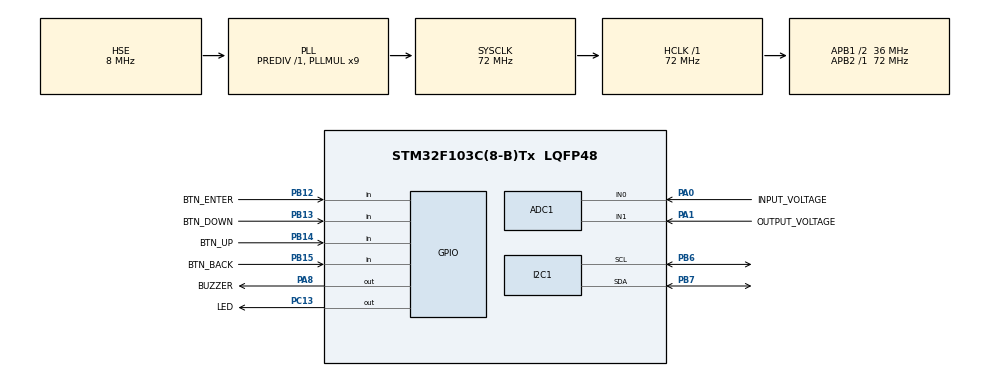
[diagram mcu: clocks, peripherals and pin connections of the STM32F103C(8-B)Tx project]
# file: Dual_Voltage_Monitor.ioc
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ADC1.Channel-0\#ChannelRegularConversion=ADC_CHANNEL_0
ADC1.NbrOfConversionFlag=1
ADC1.Rank-0\#ChannelRegularConversion=1
ADC1.SamplingTime-0\#ChannelRegularConversion=ADC_SAMPLETIME_239CYCLES_5
ADC1.master=1
Mcu.Family=STM32F1
Mcu.Name=STM32F103C(8-B)Tx
Mcu.Package=LQFP48
NVIC.PriorityGroup=NVIC_PRIORITYGROUP_4
PA0-WKUP.GPIO_Label=INPUT_VOLTAGE
PA0-WKUP.Signal=ADCx_IN0
PA1.GPIO_Label=OUTPUT_VOLTAGE
PA1.Signal=ADCx_IN1
PA13.Mode=Serial_Wire
PA13.Signal=SYS_JTMS-SWDIO
PA14.Mode=Serial_Wire
PA14.Signal=SYS_JTCK-SWCLK
PA8.GPIO_Label=BUZZER
PA8.Signal=GPIO_Output
PB12.GPIO_Label=BTN_ENTER
PB12.GPIO_PuPd=GPIO_PULLUP
PB12.Signal=GPIO_Input
PB13.GPIO_Label=BTN_DOWN
PB13.GPIO_PuPd=GPIO_PULLUP
PB13.Signal=GPIO_Input
PB14.GPIO_Label=BTN_UP
PB14.GPIO_PuPd=GPIO_PULLUP
PB14.Signal=GPIO_Input
PB15.GPIO_Label=BTN_BACK
PB15.GPIO_PuPd=GPIO_PULLUP
PB15.Signal=GPIO_Input
PB6.Mode=I2C
PB6.Signal=I2C1_SCL
PB7.Mode=I2C
PB7.Signal=I2C1_SDA
PC13-TAMPER-RTC.GPIO_Label=LED
PC13-TAMPER-RTC.Signal=GPIO_Output
PD0-OSC_IN.Mode=HSE-External-Oscillator
PD0-OSC_IN.Signal=RCC_OSC_IN
PD1-OSC_OUT.Mode=HSE-External-Oscillator
PD1-OSC_OUT.Signal=RCC_OSC_OUT
ProjectManager.HeapSize=0x200
ProjectManager.StackSize=0x400
ProjectManager.TargetToolchain=STM32CubeIDE
RCC.AHBFreq_Value=72000000
RCC.APB1CLKDivider=RCC_HCLK_DIV2
RCC.APB1Freq_Value=36000000
RCC.APB1TimFreq_Value=72000000
RCC.APB2Freq_Value=72000000
RCC.APB2TimFreq_Value=72000000
RCC.HCLKFreq_Value=72000000
RCC.PLLMUL=RCC_PLL_MUL9
RCC.PLLSourceVirtual=RCC_PLLSOURCE_HSE
RCC.SYSCLKFreq_VALUE=72000000
RCC.SYSCLKSource=RCC_SYSCLKSOURCE_PLLCLK
RCC.USBFreq_Value=72000000
SH.ADCx_IN0.0=ADC1_IN0,IN0
SH.ADCx_IN1.0=ADC1_IN1,IN1
board=custom

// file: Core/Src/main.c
/* USER CODE BEGIN Header */
/**
  ******************************************************************************
  * @file           : main.c
  * @brief          : Main program body
  ******************************************************************************
  *
  * Dual Voltage Monitor
  *
  * This file contains:
  *
  * - STM32 initialization
  * - Peripheral initialization
  * - Application startup sequence
  * - Main application loop
  *
  * Current test purpose:
  *
  * Verify complete button path:
  *
  * GPIO
  *   |
  *   v
  * buttons.c
  *   |
  *   v
  *   |
  *   v
  * main.c
  *
  ******************************************************************************
  */
/* USER CODE END Header */
#include "main.h"

/* USER CODE BEGIN Includes */

#include "lcd_display.h"
#include "buzzer.h"
#include "buttons.h"
#include "menu_items.h"
#include "menu_controller.h"
#include "menu_renderer.h"
#include "menu_edit.h"
#include "screen_manager.h"
#include "menu_actions.h"
#include "adc_app.h"
#include "config.h"
#include "lcd_test.h"
#include "factory_default.h"
#include "factory_confirm.h"

/* USER CODE END Includes */

ADC_HandleTypeDef hadc1;

I2C_HandleTypeDef hi2c1;

/* USER CODE BEGIN PV */

/*
 * Private application variables will be added here
 * when required by the application.
 *
 * Currently no debug variable is needed.
 */

/* USER CODE END PV */

void SystemClock_Config(void);
static void MX_GPIO_Init(void);
static void MX_ADC1_Init(void);
static void MX_I2C1_Init(void);

int main(void)
{

  /* MCU Configuration--------------------------------------------------------*/

  /* Reset of all peripherals, Initializes the Flash interface and the Systick. */
  HAL_Init();

  /* Configure the system clock */
  SystemClock_Config();

  /* Initialize all configured peripherals */
  MX_GPIO_Init();
  MX_ADC1_Init();
  MX_I2C1_Init();
  /* USER CODE BEGIN 2 */

  /*
   * Startup delay.
   * Gives LCD module time to stabilize.
   */

  HAL_Delay(2000);

  // ( Handler I2C1، Address, Columns، Rows )َ
  //LCD_Init(&hi2c1, 0x27, 20, 4);

  LCD_Display_Init(&hi2c1);

  Config_Init();

  ADC_App_Init();

  Buttons_Init();

  Buzzer_Init();

  MenuController_Init();

  MenuEdit_Init();

  MenuRenderer_Init();

  ScreenManager_Init();

  FactoryDefault_Init();

  FactoryConfirm_Init();

  ScreenManager_Render();

//------------ LCD Test Line Begin --------------------------
//  LCD_Clear();
//  HAL_Delay(5);
//  LCD_SetCursor(0, 0);
//  LCD_Print("Hello STM32!");
//  LCD_SetCursor(0, 1);       // Line2
//  LCD_Print("Line 2!");
//  LCD_SetCursor(0, 2);       // Line2
//  LCD_Print("Line 3!");
//  LCD_SetCursor(0, 3);       // Line2
//  LCD_Print("Line 4!");
//------------ LCD Test Line END ----------------------------

  /* USER CODE END 2 */

  /* Infinite loop */
  /* USER CODE BEGIN WHILE */

  static uint32_t last_screen_update = 0U;

  while (1)
  {

      ADC_App_Task();

      /*
       * Live monitor requires continuous refresh.
       */
      if(ScreenManager_GetScreen() == SCREEN_LIVE_MONITOR)
      {
          if((HAL_GetTick() - last_screen_update) >= 200U)
          {
              last_screen_update = HAL_GetTick();

              ScreenManager_Render();
          }
      }

      Buttons_Task();

      Buzzer_Task();

/*
       * Render menu only when
       * factory confirmation is inactive.
       */
      if(FactoryConfirm_IsActive() == 0U)
      {
          ScreenManager_Render();
      }

      FactoryDefault_Task();

      FactoryConfirm_Task();

      if(FactoryDefault_GetState() == FACTORY_DEFAULT_DONE)
      {
          FactoryDefault_Init();

          FactoryConfirm_Reset();

          MenuController_Init();

          ScreenManager_SetScreen(
                  SCREEN_MENU);

          ScreenManager_Render();
      }

      //----------------------------------------- Button Processing Begin --------------------------------------

      Button_Event_t event;

      while(Buttons_GetEvent(&event))
      {

    	   /*
    	     * Factory confirmation owns buttons
    	     * while confirmation screen is active.
    	     */

    	  if(FactoryConfirm_IsActive())
    	  {
    	      FactoryConfirm_ProcessButton(&event);
    	      continue;
    	  }

    	  /*
    	     * Factory default operation
    	     * blocks normal menu input.
    	     */
    	    if(FactoryDefault_IsActive())
    	    {
    	        continue;
    	    }

          switch(event.button)
          {

              case BUTTON_ID_UP:

                  if((event.event == BUTTON_EVENT_PRESS) ||
                     (event.event == BUTTON_EVENT_REPEAT))
                  {

                	  if(MenuEdit_IsActive())
                	  {
                	      MenuEdit_Increment();

                	      ScreenManager_Render();
                	  }

                	  else if((event.event == BUTTON_EVENT_PRESS) ||
                	          (event.event == BUTTON_EVENT_REPEAT))
                	  {
                	      MenuController_MoveUp();

                	      ScreenManager_Render();
                	  }

                  }

                  break;

              case BUTTON_ID_DOWN:

                  if((event.event == BUTTON_EVENT_PRESS) ||
                     (event.event == BUTTON_EVENT_REPEAT))
                  {

                      if(MenuEdit_IsActive())
                      {
                          MenuEdit_Decrement();

                          ScreenManager_Render();
                      }
                      //else if(event.event == BUTTON_EVENT_PRESS)

                      else if((event.event == BUTTON_EVENT_PRESS) ||
                              (event.event == BUTTON_EVENT_REPEAT))

                      {
                          MenuController_MoveDown();

                          ScreenManager_Render();
                      }

                  }

                  break;

              case BUTTON_ID_ENTER:

                  if(event.event == BUTTON_EVENT_PRESS)
                  {

                      if(MenuEdit_IsActive())
                      {
                          MenuEdit_Confirm();
                      }
                      else
                      {
                          MenuController_Enter();
                      }

                      if(FactoryConfirm_IsActive() == 0U)
                      {
                          ScreenManager_Render();
                      }

                  }

                  break;

              case BUTTON_ID_BACK:

                  if(event.event == BUTTON_EVENT_PRESS)
                  {

                      if(MenuEdit_IsActive())
                      {
                          MenuEdit_Cancel();
                      }
                      else
                      {

                          if(ScreenManager_GetScreen() != SCREEN_MENU)
                          {
                              ScreenManager_SetScreen(SCREEN_MENU);
                          }
                          else
                          {
                              MenuController_Back();
                          }

                      }

                      if(FactoryConfirm_IsActive() == 0U)
                      {
                          ScreenManager_Render();
                      }

                  }

                  break;

              default:

                  break;

          }

      }

      //----------------------------------------- Button Processing End --------------------------------------

  }

    /* USER CODE END WHILE */

}

void SystemClock_Config(void)
{
  RCC_OscInitTypeDef RCC_OscInitStruct = {0};
  RCC_ClkInitTypeDef RCC_ClkInitStruct = {0};
  RCC_PeriphCLKInitTypeDef PeriphClkInit = {0};

  /** Initializes the RCC Oscillators according to the specified parameters
  * in the RCC_OscInitTypeDef structure.
  */
  RCC_OscInitStruct.OscillatorType = RCC_OSCILLATORTYPE_HSE;
  RCC_OscInitStruct.HSEState = RCC_HSE_ON;
  RCC_OscInitStruct.HSEPredivValue = RCC_HSE_PREDIV_DIV1;
  RCC_OscInitStruct.HSIState = RCC_HSI_ON;
  RCC_OscInitStruct.PLL.PLLState = RCC_PLL_ON;
  RCC_OscInitStruct.PLL.PLLSource = RCC_PLLSOURCE_HSE;
  RCC_OscInitStruct.PLL.PLLMUL = RCC_PLL_MUL9;
  if (HAL_RCC_OscConfig(&RCC_OscInitStruct) != HAL_OK)
  {
    Error_Handler();
  }

  /** Initializes the CPU, AHB and APB buses clocks
  */
  RCC_ClkInitStruct.ClockType = RCC_CLOCKTYPE_HCLK|RCC_CLOCKTYPE_SYSCLK
                              |RCC_CLOCKTYPE_PCLK1|RCC_CLOCKTYPE_PCLK2;
  RCC_ClkInitStruct.SYSCLKSource = RCC_SYSCLKSOURCE_PLLCLK;
  RCC_ClkInitStruct.AHBCLKDivider = RCC_SYSCLK_DIV1;
  RCC_ClkInitStruct.APB1CLKDivider = RCC_HCLK_DIV2;
  RCC_ClkInitStruct.APB2CLKDivider = RCC_HCLK_DIV1;

  if (HAL_RCC_ClockConfig(&RCC_ClkInitStruct, FLASH_LATENCY_2) != HAL_OK)
  {
    Error_Handler();
  }
  PeriphClkInit.PeriphClockSelection = RCC_PERIPHCLK_ADC;
  PeriphClkInit.AdcClockSelection = RCC_ADCPCLK2_DIV2;
  if (HAL_RCCEx_PeriphCLKConfig(&PeriphClkInit) != HAL_OK)
  {
    Error_Handler();
  }
}

static void MX_ADC1_Init(void)
{

  ADC_ChannelConfTypeDef sConfig = {0};

  /** Common config
  */
  hadc1.Instance = ADC1;
  hadc1.Init.ScanConvMode = ADC_SCAN_DISABLE;
  hadc1.Init.ContinuousConvMode = DISABLE;
  hadc1.Init.DiscontinuousConvMode = DISABLE;
  hadc1.Init.ExternalTrigConv = ADC_SOFTWARE_START;
  hadc1.Init.DataAlign = ADC_DATAALIGN_RIGHT;
  hadc1.Init.NbrOfConversion = 1;
  if (HAL_ADC_Init(&hadc1) != HAL_OK)
  {
    Error_Handler();
  }

  /** Configure Regular Channel
  */
  sConfig.Channel = ADC_CHANNEL_0;
  sConfig.Rank = ADC_REGULAR_RANK_1;
  sConfig.SamplingTime = ADC_SAMPLETIME_239CYCLES_5;
  if (HAL_ADC_ConfigChannel(&hadc1, &sConfig) != HAL_OK)
  {
    Error_Handler();
  }

  HAL_ADCEx_Calibration_Start(&hadc1);

}

static void MX_I2C1_Init(void)
{

  hi2c1.Instance = I2C1;
  hi2c1.Init.ClockSpeed = 100000;
  hi2c1.Init.DutyCycle = I2C_DUTYCYCLE_2;
  hi2c1.Init.OwnAddress1 = 0;
  hi2c1.Init.AddressingMode = I2C_ADDRESSINGMODE_7BIT;
  hi2c1.Init.DualAddressMode = I2C_DUALADDRESS_DISABLE;
  hi2c1.Init.OwnAddress2 = 0;
  hi2c1.Init.GeneralCallMode = I2C_GENERALCALL_DISABLE;
  hi2c1.Init.NoStretchMode = I2C_NOSTRETCH_DISABLE;
  if (HAL_I2C_Init(&hi2c1) != HAL_OK)
  {
    Error_Handler();
  }

}

static void MX_GPIO_Init(void)
{
  GPIO_InitTypeDef GPIO_InitStruct = {0};

  /* GPIO Ports Clock Enable */
  __HAL_RCC_GPIOC_CLK_ENABLE();
  __HAL_RCC_GPIOD_CLK_ENABLE();
  __HAL_RCC_GPIOA_CLK_ENABLE();
  __HAL_RCC_GPIOB_CLK_ENABLE();

  /*Configure GPIO pin Output Level */
  HAL_GPIO_WritePin(LED_GPIO_Port, LED_Pin, GPIO_PIN_RESET);

  /*Configure GPIO pin Output Level */
  HAL_GPIO_WritePin(BUZZER_GPIO_Port, BUZZER_Pin, GPIO_PIN_RESET);

  /*Configure GPIO pin : LED_Pin */
  GPIO_InitStruct.Pin = LED_Pin;
  GPIO_InitStruct.Mode = GPIO_MODE_OUTPUT_PP;
  GPIO_InitStruct.Pull = GPIO_NOPULL;
  GPIO_InitStruct.Speed = GPIO_SPEED_FREQ_LOW;
  HAL_GPIO_Init(LED_GPIO_Port, &GPIO_InitStruct);

  /*Configure GPIO pins : BTN_ENTER_Pin BTN_DOWN_Pin BTN_UP_Pin BTN_BACK_Pin */
  GPIO_InitStruct.Pin = BTN_ENTER_Pin|BTN_DOWN_Pin|BTN_UP_Pin|BTN_BACK_Pin;
  GPIO_InitStruct.Mode = GPIO_MODE_INPUT;
  GPIO_InitStruct.Pull = GPIO_PULLUP;
  HAL_GPIO_Init(GPIOB, &GPIO_InitStruct);

  /*Configure GPIO pin : BUZZER_Pin */
  GPIO_InitStruct.Pin = BUZZER_Pin;
  GPIO_InitStruct.Mode = GPIO_MODE_OUTPUT_PP;
  GPIO_InitStruct.Pull = GPIO_NOPULL;
  GPIO_InitStruct.Speed = GPIO_SPEED_FREQ_LOW;
  HAL_GPIO_Init(BUZZER_GPIO_Port, &GPIO_InitStruct);

}

void Error_Handler(void)
{
  __disable_irq();
  while (1)
  {
  }
}
